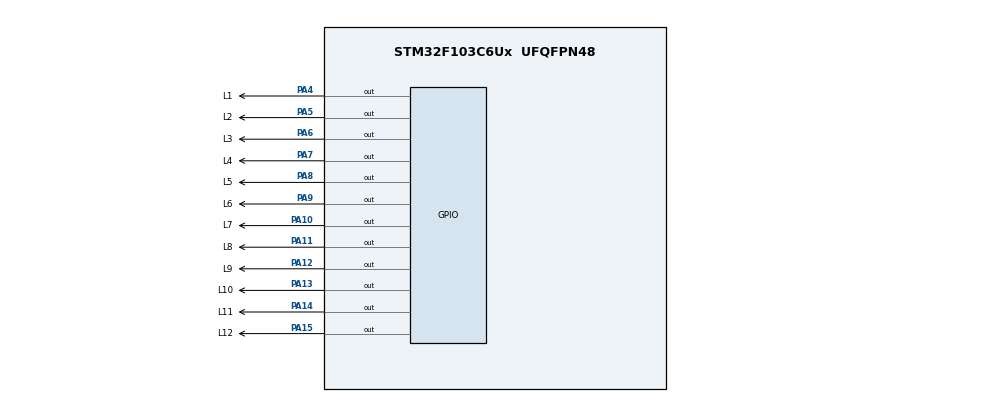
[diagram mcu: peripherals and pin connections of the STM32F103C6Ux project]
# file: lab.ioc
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Mcu.Family=STM32F1
Mcu.Name=STM32F103C6Ux
Mcu.Package=UFQFPN48
NVIC.PriorityGroup=NVIC_PRIORITYGROUP_4
PA10.GPIO_Label=L7
PA10.Signal=GPIO_Output
PA11.GPIO_Label=L8
PA11.Signal=GPIO_Output
PA12.GPIO_Label=L9
PA12.Signal=GPIO_Output
PA13.GPIO_Label=L10
PA13.Signal=GPIO_Output
PA14.GPIO_Label=L11
PA14.Signal=GPIO_Output
PA15.GPIO_Label=L12
PA15.Signal=GPIO_Output
PA4.GPIO_Label=L1
PA4.Signal=GPIO_Output
PA5.GPIO_Label=L2
PA5.Signal=GPIO_Output
PA6.GPIO_Label=L3
PA6.Signal=GPIO_Output
PA7.GPIO_Label=L4
PA7.Signal=GPIO_Output
PA8.GPIO_Label=L5
PA8.Signal=GPIO_Output
PA9.GPIO_Label=L6
PA9.Signal=GPIO_Output
ProjectManager.HeapSize=0x200
ProjectManager.StackSize=0x400
ProjectManager.TargetToolchain=STM32CubeIDE
RCC.APB1Freq_Value=8000000
RCC.APB2Freq_Value=8000000
VP_SYS_VS_ND.Mode=No_Debug
board=custom

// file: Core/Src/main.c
/* USER CODE BEGIN Header */
/**
  ******************************************************************************
  * @file           : main.c
  * @brief          : Main program body
  ******************************************************************************
  * @attention
  *
  * <h2><center>&copy; Copyright (c) 2022 STMicroelectronics.
  * All rights reserved.</center></h2>
  *
  * This software component is licensed by ST under BSD 3-Clause license,
  * the "License"; You may not use this file except in compliance with the
  * License. You may obtain a copy of the License at:
  *                        opensource.org/licenses/BSD-3-Clause
  *
  ******************************************************************************
  */
/* USER CODE END Header */
#include "main.h"

void SystemClock_Config(void);
static void MX_GPIO_Init(void);

int main(void)
{

  /* MCU Configuration--------------------------------------------------------*/

  /* Reset of all peripherals, Initializes the Flash interface and the Systick. */
  HAL_Init();

  /* Configure the system clock */
  SystemClock_Config();

  /* Initialize all configured peripherals */
  MX_GPIO_Init();
  /* USER CODE BEGIN 2 */
  //to turn off all the led from PA4 to PA5, which mean to set these pin high while ignore
  //PA0 to PA3, we just need to OR the Output Data register with the value 0xfff0
  void clearAllClock(){
	  GPIOA -> ODR |= 0xfff0;
  }

  //to set the led on, we need to pull the corresponding pin low while ignore other pin
  //to do that we just need to AND the Output Data Register with the suitable bit's pattern
  //to turn it on.
  void setNumberOnClock(int num){
	  if(num == 1) {
		  GPIOA -> ODR &= 0xffef;   //number 1 on clock
	  }
	  if(num == 2) {
		  GPIOA -> ODR &= 0xffdf;   //number 2 on clock
	  }
	  if(num == 3) {
		  GPIOA -> ODR &= 0xffbf;   //number 3 on clock
	  }
	  if(num == 4) {
		  GPIOA -> ODR &= 0xff7f;   //number 4 on clock
	  }
	  if(num == 5) {
		  GPIOA -> ODR &= 0xfeff;   //number 5 on clock
	  }
	  if(num == 6) {
		  GPIOA -> ODR &= 0xfdff;   //number 6 on clock
	  }
	  if(num == 7) {
		  GPIOA -> ODR &= 0xfbff;   //number 7 on clock
	  }
	  if(num == 8) {
		  GPIOA -> ODR &= 0xf7ff;   //number 8 on clock
	  }
	  if(num == 9) {
		  GPIOA -> ODR &= 0xefff;   //number 9 on clock
	  }
	  if(num == 10) {
		  GPIOA -> ODR &= 0xdfff;   //number 10 on clock
	  }
	  if(num == 11) {
		  GPIOA -> ODR &= 0xbfff;   //number 11 on clock
	  }
	  if(num == 0) {
		  GPIOA -> ODR &= 0x7fff;   //number 0 on clock
	  }
  }

  //to clear a pin, we just need to OR the Output Data Register with the position of the pin is 1, the other are 0
  void clearNumberOnClock(int num){
	  if(num == 1) {
		  GPIOA -> ODR |= 0x0010;   //clear number 1 on clock
	  }
	  if(num == 2) {
		  GPIOA -> ODR |= 0x0020;   //clear number 2 on clock
	  }
	  if(num == 3) {
		  GPIOA -> ODR |= 0x0040;   //clear number 3 on clock
	  }
	  if(num == 4) {
		  GPIOA -> ODR |= 0x0080;   //clear number 4 on clock
	  }
	  if(num == 5) {
		  GPIOA -> ODR |= 0x0100;   //clear number 5 on clock
	  }
	  if(num == 6) {
		  GPIOA -> ODR |= 0x0200;   //clear number 6 on clock
	  }
	  if(num == 7) {
		  GPIOA -> ODR |= 0x0400;   //clear number 7 on clock
	  }
	  if(num == 8) {
		  GPIOA -> ODR |= 0x0800;   //clear number 8 on clock
	  }
	  if(num == 9) {
		  GPIOA -> ODR |= 0x1000;   //clear number 9 on clock
	  }
	  if(num == 10) {
		  GPIOA -> ODR |= 0x2000;   //clear number 10 on clock
	  }
	  if(num == 11) {
		  GPIOA -> ODR |= 0x4000;   //clear number 11 on clock
	  }
	  if(num == 0) {
		  GPIOA -> ODR |= 0x8000;   //clear number 0 on clock
	  }
  }

  /* USER CODE END 2 */

  //timer counter for tracking hour-minute-second, initial time can be change here
  int hour_counter = 0;
  int minute_counter = 0;
  int second_counter = 0;

  //initial time
  clearAllClock();
  setNumberOnClock(second_counter/5);
  setNumberOnClock(minute_counter/5);
  setNumberOnClock(hour_counter);

  /* USER CODE END 2 */

  /* Infinite loop */
  /* USER CODE BEGIN WHILE */
  while (1)
  {
	  //wait for 5 second for the clock to update
	  HAL_Delay(5000);

	  //time update for hour_counter, minute_counter, second_counter
	  if(second_counter < 60) second_counter+=5;
	  if(second_counter == 60 && minute_counter < 60) minute_counter+=1;
	  if(second_counter == 60 && minute_counter == 60 && hour_counter < 12) hour_counter++;
	  if(second_counter == 60) second_counter = 0;
	  if(minute_counter == 60) minute_counter = 0;
	  if(hour_counter == 12)   hour_counter = 0;

	  //display hour-minute-second
	  clearAllClock();
	  setNumberOnClock(second_counter/5);
	  setNumberOnClock(minute_counter/5);
	  setNumberOnClock(hour_counter);

    /* USER CODE END WHILE */

  }
}

void SystemClock_Config(void)
{
  RCC_OscInitTypeDef RCC_OscInitStruct = {0};
  RCC_ClkInitTypeDef RCC_ClkInitStruct = {0};

  /** Initializes the RCC Oscillators according to the specified parameters
  * in the RCC_OscInitTypeDef structure.
  */
  RCC_OscInitStruct.OscillatorType = RCC_OSCILLATORTYPE_HSI;
  RCC_OscInitStruct.HSIState = RCC_HSI_ON;
  RCC_OscInitStruct.HSICalibrationValue = RCC_HSICALIBRATION_DEFAULT;
  RCC_OscInitStruct.PLL.PLLState = RCC_PLL_NONE;
  if (HAL_RCC_OscConfig(&RCC_OscInitStruct) != HAL_OK)
  {
    Error_Handler();
  }
  /** Initializes the CPU, AHB and APB buses clocks
  */
  RCC_ClkInitStruct.ClockType = RCC_CLOCKTYPE_HCLK|RCC_CLOCKTYPE_SYSCLK
                              |RCC_CLOCKTYPE_PCLK1|RCC_CLOCKTYPE_PCLK2;
  RCC_ClkInitStruct.SYSCLKSource = RCC_SYSCLKSOURCE_HSI;
  RCC_ClkInitStruct.AHBCLKDivider = RCC_SYSCLK_DIV1;
  RCC_ClkInitStruct.APB1CLKDivider = RCC_HCLK_DIV1;
  RCC_ClkInitStruct.APB2CLKDivider = RCC_HCLK_DIV1;

  if (HAL_RCC_ClockConfig(&RCC_ClkInitStruct, FLASH_LATENCY_0) != HAL_OK)
  {
    Error_Handler();
  }
}

static void MX_GPIO_Init(void)
{
  GPIO_InitTypeDef GPIO_InitStruct = {0};

  /* GPIO Ports Clock Enable */
  __HAL_RCC_GPIOA_CLK_ENABLE();

  /*Configure GPIO pin Output Level */
  HAL_GPIO_WritePin(GPIOA, L1_Pin|L2_Pin|L3_Pin|L4_Pin
                          |L5_Pin|L6_Pin|L7_Pin|L8_Pin
                          |L9_Pin|L10_Pin|L11_Pin|L12_Pin, GPIO_PIN_RESET);

  /*Configure GPIO pins : L1_Pin L2_Pin L3_Pin L4_Pin
                           L5_Pin L6_Pin L7_Pin L8_Pin
                           L9_Pin L10_Pin L11_Pin L12_Pin */
  GPIO_InitStruct.Pin = L1_Pin|L2_Pin|L3_Pin|L4_Pin
                          |L5_Pin|L6_Pin|L7_Pin|L8_Pin
                          |L9_Pin|L10_Pin|L11_Pin|L12_Pin;
  GPIO_InitStruct.Mode = GPIO_MODE_OUTPUT_PP;
  GPIO_InitStruct.Pull = GPIO_NOPULL;
  GPIO_InitStruct.Speed = GPIO_SPEED_FREQ_LOW;
  HAL_GPIO_Init(GPIOA, &GPIO_InitStruct);

}

void Error_Handler(void)
{
  __disable_irq();
  while (1)
  {
  }
}

/************************ (C) COPYRIGHT STMicroelectronics *****END OF FILE****/
